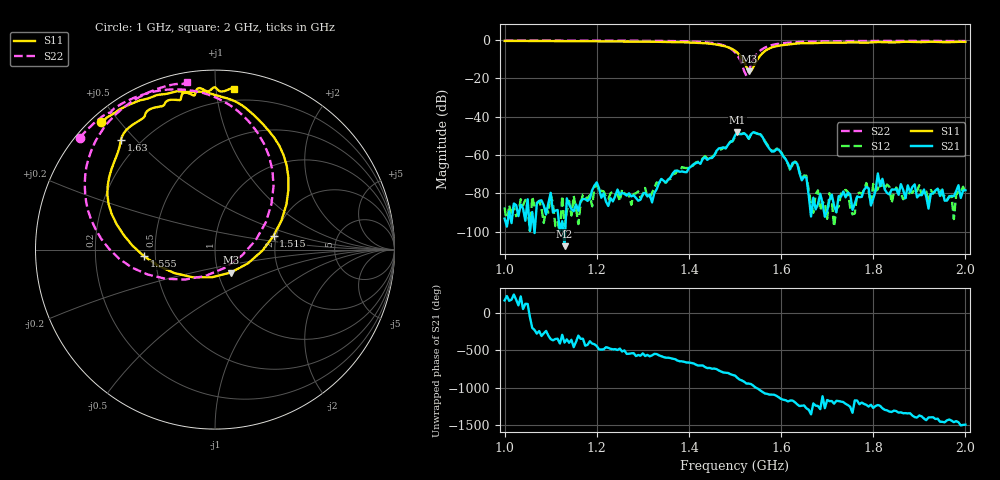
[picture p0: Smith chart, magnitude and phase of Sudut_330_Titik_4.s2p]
# Hz S RI R 50
! CMT, C1220, 16058040, 17.2.0/1
! Date: 14/08/2018 12:33:45
! Data: Format (Calibration Info)
! Freq  S11: Re/Im (F2)  S21: Re/Im (F2)  S12: Re/Im (F2)  S22: Re/Im (F2)
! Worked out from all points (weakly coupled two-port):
!   201 points, 1 GHz to 2 GHz, reference 50 ohm
!   highest |S21| = -48.05 dB at 1.505 GHz (marker M1); lowest = -107.6 dB at 1.13 GHz (marker M2)
!   lowest |S11| = -16.2 dB at 1.53 GHz (marker M3), VSWR 1.37, Z = 57.5 - j15.1 ohm
!   |S11| at or under -10 dB: 1.516 GHz to 1.549 GHz (32.87 MHz wide, 2.14 % of centre)
!   |S22| runs from -18.8 to -0.2 dB; largest |S21 - S12| = 0.00029
!   S11 on the Smith chart (normalised r, x): 1 GHz: 0.03, +0.45; 1.515 GHz: 1.93, +0.33; 1.555 GHz: 0.43, -0.04; 1.63 GHz: 0.13, +0.45; 2 GHz: 0.12, +1.12
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1e9  -0.6336 0.7088  -2.15e-05 3.94e-06  2.55e-05 -3.47e-05  -0.7532 0.624
1.13e9  -0.4956 0.7995  3.44e-06 -2.37e-06  -2.2e-06 -1.41e-05  -0.6558 0.72
1.17e9  -0.4562 0.8165  6.82e-05 2.06e-05  8.65e-05 -3.46e-05  -0.6171 0.7492
1.2e9  -0.4134 0.8323  2.91e-05 -0.00019  1.86e-05 -0.000165  -0.5836 0.7623
1.21e9  -0.4042 0.8345  -4.75e-05 -6.03e-05  -6.66e-05 -9.63e-05  -0.5792 0.7665
1.32e9  -0.2125 0.8822  -5.23e-05 2.48e-05  -0.000102 -2.75e-06  -0.4306 0.8538
1.335e9  -0.1909 0.8806  -0.000168 7.97e-05  -0.00017 8.04e-05  -0.4019 0.8635
1.45e9  0.1926 0.7707  0.00076 -0.000345  0.000786 -0.000412  0.0206 0.8396
1.5e9  0.409 0.3325  -0.00142 -0.00289  -0.0014 -0.0027  0.3259 0.3515
1.505e9  0.3978 0.2511  -0.00327 -0.00223  -0.00302 -0.00223  0.3147 0.2545
1.515e9  0.3261 0.0761  -0.00352 0.000103  -0.00354 -4.86e-05  0.2278 0.0539
1.53e9  0.0873 -0.1278  -0.00194 0.00184  -0.00194 0.00182  -0.0539 -0.147
1.555e9  -0.3966 -0.0361  0.00248 0.00241  0.00235 0.00256  -0.534 -0.0507
1.62e9  -0.5329 0.5687  -2.51e-06 -0.000441  -3.6e-05 -0.000393  -0.7073 0.498
1.63e9  -0.5235 0.612  -0.000245 -0.000603  -0.000274 -0.000617  -0.6923 0.5431
1.67e9  -0.4064 0.7285  -4.9e-05 -5.93e-05  2.08e-05 -2.32e-05  -0.6249 0.6706
1.785e9  -0.1921 0.8355  -0.000123 -7.6e-05  -0.00017 -7.61e-05  -0.4474 0.8342
1.795e9  -0.1885 0.85  -4.05e-05 -2.62e-05  -5.28e-05 -7.25e-06  -0.4331 0.8425
1.8e9  -0.1861 0.8597  -7.13e-05 1.24e-05  -6.49e-05 -0.000163  -0.4261 0.8467
1.81e9  -0.1743 0.8731  -0.000287 -0.000163  -1.21e-06 -0.000127  -0.4126 0.8548
1.835e9  -0.1215 0.8597  -4.86e-05 8e-05  -2.15e-05 0.000146  -0.3785 0.8719
2e9  0.107 0.8927  7.25e-05 -9.64e-05  3.7e-05 -9.6e-05  -0.1552 0.9314
